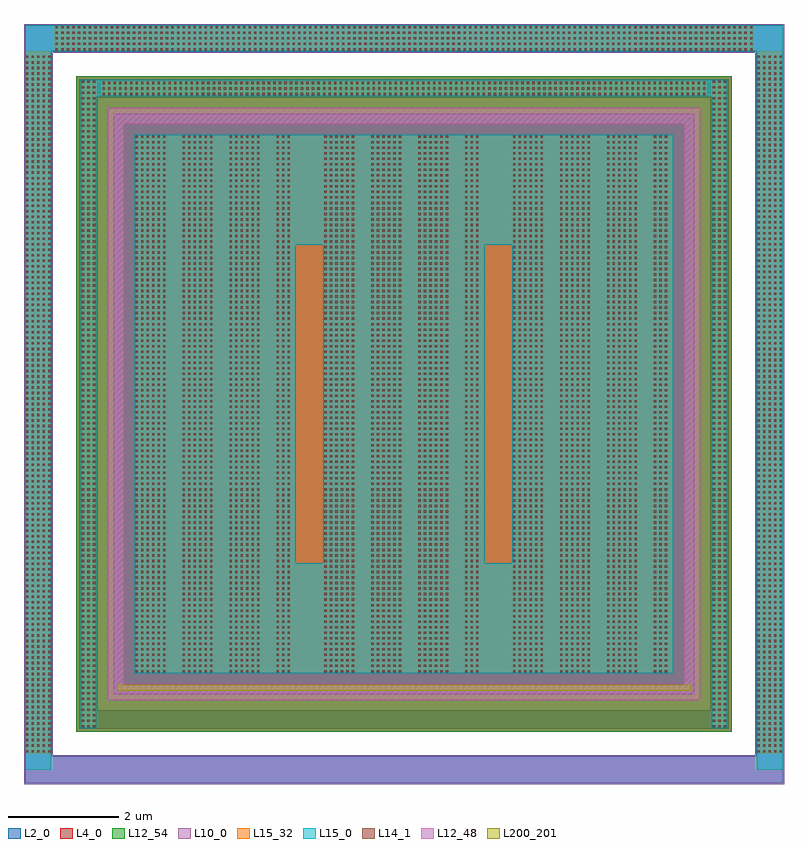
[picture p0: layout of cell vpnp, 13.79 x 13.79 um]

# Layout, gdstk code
import gdstk
lib = gdstk.Library(unit=1e-6, precision=1e-09)
def R(c, l, rs):  # rectangles x0, y0, x1, y1
    for r in rs: c.add(gdstk.rectangle(r[:2], r[2:], *l))
def A(c, l, x, y, w, h, nx, ny, dx, dy):  # array of equal rectangles
    R(c, l, [(x+i*dx, y+j*dy, x+i*dx+w, y+j*dy+h) for i in range(nx) for j in range(ny)])
L2_0 = (2, 0)
L4_0 = (4, 0)
L10_0 = (10, 0)
L12_48 = (12, 48)
L12_54 = (12, 54)
L14_1 = (14, 1)
L15_0 = (15, 0)
L15_32 = (15, 32)
L200_201 = (200, 201)

vpnp = lib.new_cell('vpnp')
R(vpnp, L2_0, [(-13.379,-5.409,0.373,-4.929), (-13.379,-4.929,-12.899,7.863), (-0.107,-4.929,0.373,7.863), (-12.399,-4.429,-0.607,-4.089), (-12.399,-4.089,-12.059,7.023), (-0.947,-4.089,-0.607,7.023), (-11.703,-3.733,-1.303,6.667), (-12.399,7.023,-0.607,7.363), (-13.379,7.863,0.373,8.343)])
R(vpnp, L4_0, [(-12.455,-4.485,-0.551,7.419)])
R(vpnp, L10_0, [(-13.4,-5.43,0.394,-4.908), (-13.4,-4.908,-12.878,7.842), (-0.128,-4.908,0.394,7.842), (-11.773,-3.803,-1.233,6.737), (-13.4,7.842,0.394,8.364)])
R(vpnp, L12_48, [(-11.884,-3.914,-1.122,-3.608), (-11.884,-3.608,-11.578,6.542), (-1.428,-3.608,-1.122,6.542), (-11.884,6.542,-1.122,6.848)])
R(vpnp, L12_54, [(-12.455,-4.485,-0.551,7.419)])
A(vpnp, L14_1, -13.359, -4.853, 0.04, 0.04, 5, 127, 0.1, 0.1)
A(vpnp, L14_1, -0.087, -4.853, 0.04, 0.04, 5, 127, 0.1, 0.1)
A(vpnp, L14_1, -12.349, -4.403, 0.04, 0.04, 3, 118, 0.1, 0.1)
A(vpnp, L14_1, -0.897, -4.403, 0.04, 0.04, 3, 118, 0.1, 0.1)
A(vpnp, L14_1, -11.373, -3.403, 0.04, 0.04, 6, 98, 0.1, 0.1)
A(vpnp, L14_1, -10.521, -3.403, 0.04, 0.04, 6, 98, 0.1, 0.1)
A(vpnp, L14_1, -9.669, -3.403, 0.04, 0.04, 6, 98, 0.1, 0.1)
A(vpnp, L14_1, -8.817, -3.403, 0.04, 0.04, 3, 98, 0.1, 0.1)
A(vpnp, L14_1, -7.947, -3.403, 0.04, 0.04, 6, 98, 0.1, 0.1)
A(vpnp, L14_1, -7.095, -3.403, 0.04, 0.04, 6, 98, 0.1, 0.1)
A(vpnp, L14_1, -6.243, -3.403, 0.04, 0.04, 6, 98, 0.1, 0.1)
A(vpnp, L14_1, -5.391, -3.403, 0.04, 0.04, 3, 98, 0.1, 0.1)
A(vpnp, L14_1, -4.522, -3.403, 0.04, 0.04, 6, 98, 0.1, 0.1)
A(vpnp, L14_1, -3.67, -3.403, 0.04, 0.04, 6, 98, 0.1, 0.1)
A(vpnp, L14_1, -2.818, -3.403, 0.04, 0.04, 6, 98, 0.1, 0.1)
A(vpnp, L14_1, -1.966, -3.403, 0.04, 0.04, 3, 98, 0.1, 0.1)
A(vpnp, L14_1, -11.973, 7.073, 0.04, 0.04, 110, 3, 0.1, 0.1)
A(vpnp, L14_1, -12.823, 7.883, 0.04, 0.04, 127, 5, 0.1, 0.1)
R(vpnp, L15_0, [(-13.377,-5.169,-12.901,8.341), (-0.105,-5.169,0.371,8.341), (-12.367,-4.421,-12.091,7.355), (-0.915,-4.421,-0.639,7.355), (-11.391,-3.421,-1.615,-1.421), (-11.391,-1.421,-8.466,4.355), (-7.965,-1.421,-5.04,4.355), (-4.54,-1.421,-1.615,4.355), (-11.391,4.355,-1.615,6.355), (-12.091,7.055,-0.915,7.355), (-12.901,7.865,-0.105,8.341)])
R(vpnp, L15_32, [(-13.377,-4.871,-12.901,7.865), (-0.105,-4.871,0.371,7.865), (-12.367,-4.421,-12.091,7.355), (-0.915,-4.421,-0.639,7.355), (-11.391,-3.421,-1.615,6.355), (-11.991,7.055,-1.015,7.331), (-12.841,7.865,-0.165,8.341)])
R(vpnp, L200_201, [(-11.703,-3.733,-1.303,-3.633)])

lib.write_gds('vpnp.gds')
